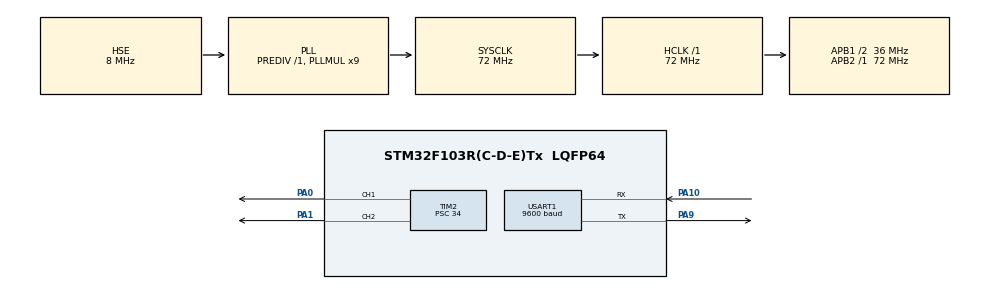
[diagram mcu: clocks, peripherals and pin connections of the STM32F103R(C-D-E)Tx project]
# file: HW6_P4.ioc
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Mcu.Family=STM32F1
Mcu.Name=STM32F103R(C-D-E)Tx
Mcu.Package=LQFP64
NVIC.PriorityGroup=NVIC_PRIORITYGROUP_4
NVIC.USART1_IRQn=true\:0\:0\:false\:false\:true\:true\:true\:true
PA0-WKUP.Signal=S_TIM2_CH1_ETR
PA1.Signal=S_TIM2_CH2
PA10.Mode=Asynchronous
PA10.Signal=USART1_RX
PA13.Mode=Serial_Wire
PA13.Signal=SYS_JTMS-SWDIO
PA14.Mode=Serial_Wire
PA14.Signal=SYS_JTCK-SWCLK
PA9.Mode=Asynchronous
PA9.Signal=USART1_TX
PD0-OSC_IN.Mode=HSE-External-Oscillator
PD0-OSC_IN.Signal=RCC_OSC_IN
PD1-OSC_OUT.Mode=HSE-External-Oscillator
PD1-OSC_OUT.Signal=RCC_OSC_OUT
ProjectManager.HeapSize=0x200
ProjectManager.StackSize=0x400
ProjectManager.TargetToolchain=MDK-ARM V5.32
RCC.ADCPresc=RCC_ADCPCLK2_DIV6
RCC.AHBFreq_Value=72000000
RCC.APB1CLKDivider=RCC_HCLK_DIV2
RCC.APB1Freq_Value=36000000
RCC.APB1TimFreq_Value=72000000
RCC.APB2Freq_Value=72000000
RCC.APB2TimFreq_Value=72000000
RCC.HCLKFreq_Value=72000000
RCC.PLLMUL=RCC_PLL_MUL9
RCC.PLLSourceVirtual=RCC_PLLSOURCE_HSE
RCC.SYSCLKFreq_VALUE=72000000
RCC.SYSCLKSource=RCC_SYSCLKSOURCE_PLLCLK
RCC.USBFreq_Value=72000000
SH.S_TIM2_CH1_ETR.0=TIM2_CH1,PWM Generation1 CH1
SH.S_TIM2_CH2.0=TIM2_CH2,PWM Generation2 CH2
TIM2.Channel-PWM\ Generation1\ CH1=TIM_CHANNEL_1
TIM2.Channel-PWM\ Generation2\ CH2=TIM_CHANNEL_2
TIM2.Period=1023
TIM2.Prescaler=34
TIM2.Pulse-PWM\ Generation1\ CH1=0
USART1.BaudRate=9600
USART1.VirtualMode=VM_ASYNC
VP_TIM2_VS_ClockSourceINT.Mode=Internal
board=custom

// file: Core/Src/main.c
/* USER CODE BEGIN Header */
/**
  ******************************************************************************
  * @file           : main.c
  * @brief          : Main program body
  ******************************************************************************
  * @attention
  *
  * Copyright (c) 2026 STMicroelectronics.
  * All rights reserved.
  *
  * This software is licensed under terms that can be found in the LICENSE file
  * in the root directory of this software component.
  * If no LICENSE file comes with this software, it is provided AS-IS.
  *
  ******************************************************************************
  */
/* USER CODE END Header */
#include "main.h"

/* USER CODE BEGIN Includes */
#include <stdio.h>
#include <string.h>
/* USER CODE END Includes */

TIM_HandleTypeDef htim2;

UART_HandleTypeDef huart1;

/* USER CODE BEGIN PV */
volatile char rx_buf[32];         // Buffer to store the incoming string
volatile uint8_t rx_byte;         // Single character received
volatile uint8_t rx_index = 0;    // Position in the buffer
volatile uint8_t data_ready = 0;  // Flag to indicate a full string is received
/* USER CODE END PV */

void SystemClock_Config(void);
static void MX_GPIO_Init(void);
static void MX_TIM2_Init(void);
static void MX_USART1_UART_Init(void);

int main(void)
{

  /* MCU Configuration--------------------------------------------------------*/

  /* Reset of all peripherals, Initializes the Flash interface and the Systick. */
  HAL_Init();

  /* Configure the system clock */
  SystemClock_Config();

  /* Initialize all configured peripherals */
  MX_GPIO_Init();
  MX_TIM2_Init();
  MX_USART1_UART_Init();
  /* USER CODE BEGIN 2 */
	HAL_TIM_PWM_Start(&htim2, TIM_CHANNEL_1);
  HAL_TIM_PWM_Start(&htim2, TIM_CHANNEL_2);

  HAL_UART_Receive_IT(&huart1, &rx_byte, 1);
  /* USER CODE END 2 */

  /* Infinite loop */
  /* USER CODE BEGIN WHILE */
  while (1)
  {
		if (data_ready == 1)
      {
          int pwm1 = 0;
          int pwm2 = 0;
          int i = 0;
          int found_A = 0;
          int found_B = 0;

          // Robust parser: scan the entire buffer for markers
          while (rx_buf[i] != '\0' && i < 32)
          {
              if (rx_buf[i] == 'A')
              {
                  found_A = 1;
                  i++;
                  // Extract the first number
                  while (rx_buf[i] >= '0' && rx_buf[i] <= '9')
                  {
                      pwm1 = pwm1 * 10 + (rx_buf[i] - '0');
                      i++;
                  }
              }
              else if (rx_buf[i] == 'B')
              {
                  found_B = 1;
                  i++;
                  // Extract the second number
                  while (rx_buf[i] >= '0' && rx_buf[i] <= '9')
                  {
                      pwm2 = pwm2 * 10 + (rx_buf[i] - '0');
                      i++;
                  }
              }
              else
              {
                  i++; // Skip any garbage characters
              }
          }

          // Only apply changes if both values were successfully extracted
          if (found_A == 1 && found_B == 1)
          {
              // Clamp values to 10-bit maximum
              if (pwm1 > 1023) pwm1 = 1023;
              if (pwm2 > 1023) pwm2 = 1023;

              // Apply new values to the hardware
              __HAL_TIM_SET_COMPARE(&htim2, TIM_CHANNEL_1, pwm1);
              __HAL_TIM_SET_COMPARE(&htim2, TIM_CHANNEL_2, pwm2);
          }

          // Wipe the buffer clean and reset flag for the next string
          memset(rx_buf, 0, sizeof(rx_buf));
          data_ready = 0;
      }
    /* USER CODE END WHILE */

  }
}

void SystemClock_Config(void)
{
  RCC_OscInitTypeDef RCC_OscInitStruct = {0};
  RCC_ClkInitTypeDef RCC_ClkInitStruct = {0};

  /** Initializes the RCC Oscillators according to the specified parameters
  * in the RCC_OscInitTypeDef structure.
  */
  RCC_OscInitStruct.OscillatorType = RCC_OSCILLATORTYPE_HSE;
  RCC_OscInitStruct.HSEState = RCC_HSE_ON;
  RCC_OscInitStruct.HSEPredivValue = RCC_HSE_PREDIV_DIV1;
  RCC_OscInitStruct.HSIState = RCC_HSI_ON;
  RCC_OscInitStruct.PLL.PLLState = RCC_PLL_ON;
  RCC_OscInitStruct.PLL.PLLSource = RCC_PLLSOURCE_HSE;
  RCC_OscInitStruct.PLL.PLLMUL = RCC_PLL_MUL9;
  if (HAL_RCC_OscConfig(&RCC_OscInitStruct) != HAL_OK)
  {
    Error_Handler();
  }

  /** Initializes the CPU, AHB and APB buses clocks
  */
  RCC_ClkInitStruct.ClockType = RCC_CLOCKTYPE_HCLK|RCC_CLOCKTYPE_SYSCLK
                              |RCC_CLOCKTYPE_PCLK1|RCC_CLOCKTYPE_PCLK2;
  RCC_ClkInitStruct.SYSCLKSource = RCC_SYSCLKSOURCE_PLLCLK;
  RCC_ClkInitStruct.AHBCLKDivider = RCC_SYSCLK_DIV1;
  RCC_ClkInitStruct.APB1CLKDivider = RCC_HCLK_DIV2;
  RCC_ClkInitStruct.APB2CLKDivider = RCC_HCLK_DIV1;

  if (HAL_RCC_ClockConfig(&RCC_ClkInitStruct, FLASH_LATENCY_2) != HAL_OK)
  {
    Error_Handler();
  }
}

static void MX_TIM2_Init(void)
{

  TIM_ClockConfigTypeDef sClockSourceConfig = {0};
  TIM_MasterConfigTypeDef sMasterConfig = {0};
  TIM_OC_InitTypeDef sConfigOC = {0};

  htim2.Instance = TIM2;
  htim2.Init.Prescaler = 34;
  htim2.Init.CounterMode = TIM_COUNTERMODE_UP;
  htim2.Init.Period = 1023;
  htim2.Init.ClockDivision = TIM_CLOCKDIVISION_DIV1;
  htim2.Init.AutoReloadPreload = TIM_AUTORELOAD_PRELOAD_DISABLE;
  if (HAL_TIM_Base_Init(&htim2) != HAL_OK)
  {
    Error_Handler();
  }
  sClockSourceConfig.ClockSource = TIM_CLOCKSOURCE_INTERNAL;
  if (HAL_TIM_ConfigClockSource(&htim2, &sClockSourceConfig) != HAL_OK)
  {
    Error_Handler();
  }
  if (HAL_TIM_PWM_Init(&htim2) != HAL_OK)
  {
    Error_Handler();
  }
  sMasterConfig.MasterOutputTrigger = TIM_TRGO_RESET;
  sMasterConfig.MasterSlaveMode = TIM_MASTERSLAVEMODE_DISABLE;
  if (HAL_TIMEx_MasterConfigSynchronization(&htim2, &sMasterConfig) != HAL_OK)
  {
    Error_Handler();
  }
  sConfigOC.OCMode = TIM_OCMODE_PWM1;
  sConfigOC.Pulse = 0;
  sConfigOC.OCPolarity = TIM_OCPOLARITY_HIGH;
  sConfigOC.OCFastMode = TIM_OCFAST_DISABLE;
  if (HAL_TIM_PWM_ConfigChannel(&htim2, &sConfigOC, TIM_CHANNEL_1) != HAL_OK)
  {
    Error_Handler();
  }
  if (HAL_TIM_PWM_ConfigChannel(&htim2, &sConfigOC, TIM_CHANNEL_2) != HAL_OK)
  {
    Error_Handler();
  }
  HAL_TIM_MspPostInit(&htim2);

}

static void MX_USART1_UART_Init(void)
{

  huart1.Instance = USART1;
  huart1.Init.BaudRate = 9600;
  huart1.Init.WordLength = UART_WORDLENGTH_8B;
  huart1.Init.StopBits = UART_STOPBITS_1;
  huart1.Init.Parity = UART_PARITY_NONE;
  huart1.Init.Mode = UART_MODE_TX_RX;
  huart1.Init.HwFlowCtl = UART_HWCONTROL_NONE;
  huart1.Init.OverSampling = UART_OVERSAMPLING_16;
  if (HAL_UART_Init(&huart1) != HAL_OK)
  {
    Error_Handler();
  }

}

static void MX_GPIO_Init(void)
{

  /* GPIO Ports Clock Enable */
  __HAL_RCC_GPIOD_CLK_ENABLE();
  __HAL_RCC_GPIOA_CLK_ENABLE();

}

/* USER CODE BEGIN 4 */
void HAL_UART_RxCpltCallback(UART_HandleTypeDef *huart)
{
    if(huart->Instance == USART1)
    {
        // Clear any hardware simulation lag errors
        __HAL_UART_CLEAR_OREFLAG(huart);

        // Auto-Sync: Reset the buffer whenever a new message starts
        if (rx_byte == 'A')
        {
            rx_index = 0;
            rx_buf[rx_index] = (char)rx_byte;
            rx_index++;
        }
        // Check for line endings
        else if (rx_byte == '\n' || rx_byte == '\r')
        {
            if (rx_index > 0)
            {
                rx_buf[rx_index] = '\0'; // Terminate the string
                data_ready = 1;          // Alert the main loop
            }
        }
        // Save the digits and 'B' marker
        else
        {
            if (rx_index > 0 && rx_index < 30)
            {
                rx_buf[rx_index] = (char)rx_byte;
                rx_index++;
            }
        }

        // Listen for the next character
        HAL_UART_Receive_IT(&huart1, &rx_byte, 1);
    }
}

// Restart receiver if Proteus throws a hardware error
void HAL_UART_ErrorCallback(UART_HandleTypeDef *huart)
{
    if(huart->Instance == USART1)
    {
        HAL_UART_Receive_IT(&huart1, &rx_byte, 1);
    }
}
/* USER CODE END 4 */

void Error_Handler(void)
{
  __disable_irq();
  while (1)
  {
  }
}
